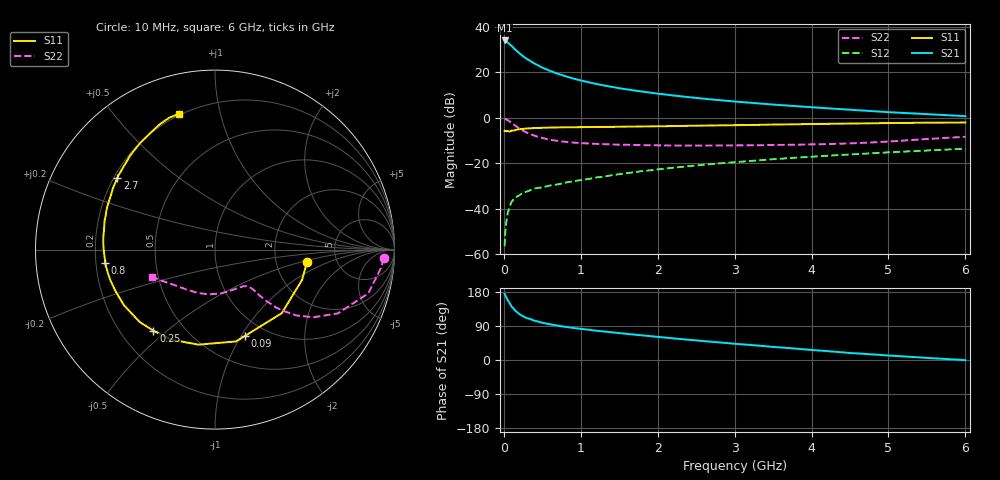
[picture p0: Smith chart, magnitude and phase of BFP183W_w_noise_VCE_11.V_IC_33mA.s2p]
! Infineon Technologies  Discrete & RF Semiconductors
! BFP183W
! VCE =  11. V,  IC =  33 mA
! Common Emitter S-Parameters:  Jan 2017
# GHz  S  MA  R  50
!  f  S11  S21  S12  S22
! GHz  MAG  ANG  MAG  ANG  MAG  ANG  MAG  ANG
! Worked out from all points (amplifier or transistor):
!   77 points, 10 MHz to 6 GHz, reference 50 ohm
!   highest |S21| = 34.0 dB at 10 MHz (marker M1)
!   |S21| within 3 dB of that: start of sweep to 118.8 MHz
!   unconditionally stable (mu >= 1): 1.049 GHz to 3.647 GHz
!   at 130 MHz: K = 0.34, MSG = 33.2 dB, |S12| = -35.8 dB
!   at 2.2 GHz: K = 1.08, MAG = 14.2 dB, |S12| = -22.0 dB
!   at 6 GHz: K = 0.85, MSG = 7.2 dB, |S12| = -13.6 dB
!   lowest NFmin = 1.47 dB at 450 MHz
!   S11 on the Smith chart (normalised r, x): 10 MHz: 3.02, -0.58; 90 MHz: 0.80, -1.04; 250 MHz: 0.34, -0.45; 800 MHz: 0.24, -0.06; 2.7 GHz: 0.21, +0.31; 6 GHz: 0.19, +0.75
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0.01  0.5171 -7.8  49.91 175.0  0.0015 57.1  0.9422 -2.9
0.02  0.5137 -19.2  49.12 170.0  0.0032 79.4  0.9298 -6.4
0.05  0.5137 -43.6  45.34 157.7  0.0079 70.6  0.8884 -15.9
0.09  0.5088 -70.7  39.16 144.9  0.0128 62.4  0.7924 -24.8
0.1  0.5249 -77.1  37.98 141.1  0.0141 61.2  0.7719 -27.4
0.15  0.5375 -99.9  31.34 129.8  0.0176 56.5  0.6656 -34.5
0.2  0.5576 -115.8  26.37 121.5  0.0196 53.4  0.5829 -39.0
0.25  0.5675 -127.2  22.46 115.2  0.0225 49.0  0.5191 -41.5
0.3  0.5818 -136.0  19.54 110.6  0.0238 46.8  0.4688 -43.5
0.4  0.5944 -148.4  15.43 103.5  0.0278 47.7  0.4009 -45.1
0.5  0.6 -156.8  12.63 98.3  0.0295 47.5  0.3582 -45.8
0.6  0.6074 -163.3  10.72 94.2  0.0323 48.8  0.3282 -46.1
0.8  0.616 -172.9  8.178 87.5  0.0374 52.4  0.2952 -46.7
0.9  0.6168 -176.6  7.284 84.7  0.0402 53.3  0.2846 -47.4
1.1  0.6232 177.1  6.024 79.8  0.0448 55.4  0.2714 -48.8
1.5  0.6332 167.0  4.458 71.0  0.0573 58.3  0.2556 -53.7
2.1  0.6508 154.5  3.234 59.1  0.0762 58.8  0.2456 -64.7
2.7  0.6741 143.9  2.523 48.2  0.0956 58.1  0.2448 -79.0
3.1  0.6883 137.6  2.202 41.3  0.1085 56.6  0.2465 -88.8
4.1  0.7296 123.5  1.657 25.0  0.1423 51.9  0.261 -114.3
5.1  0.7657 112.8  1.298 10.6  0.1763 46.3  0.3067 -140.8
6  0.7832 104.7  1.082 -0.5  0.2081 40.3  0.3806 -156.4
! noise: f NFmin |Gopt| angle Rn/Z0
0.45  1.47  0.28  -179  0.1
0.9  1.51  0.31  -177  0.1
1.9  2  0.46  -156  0.11
2.4  2.24  0.51  -151  0.16
